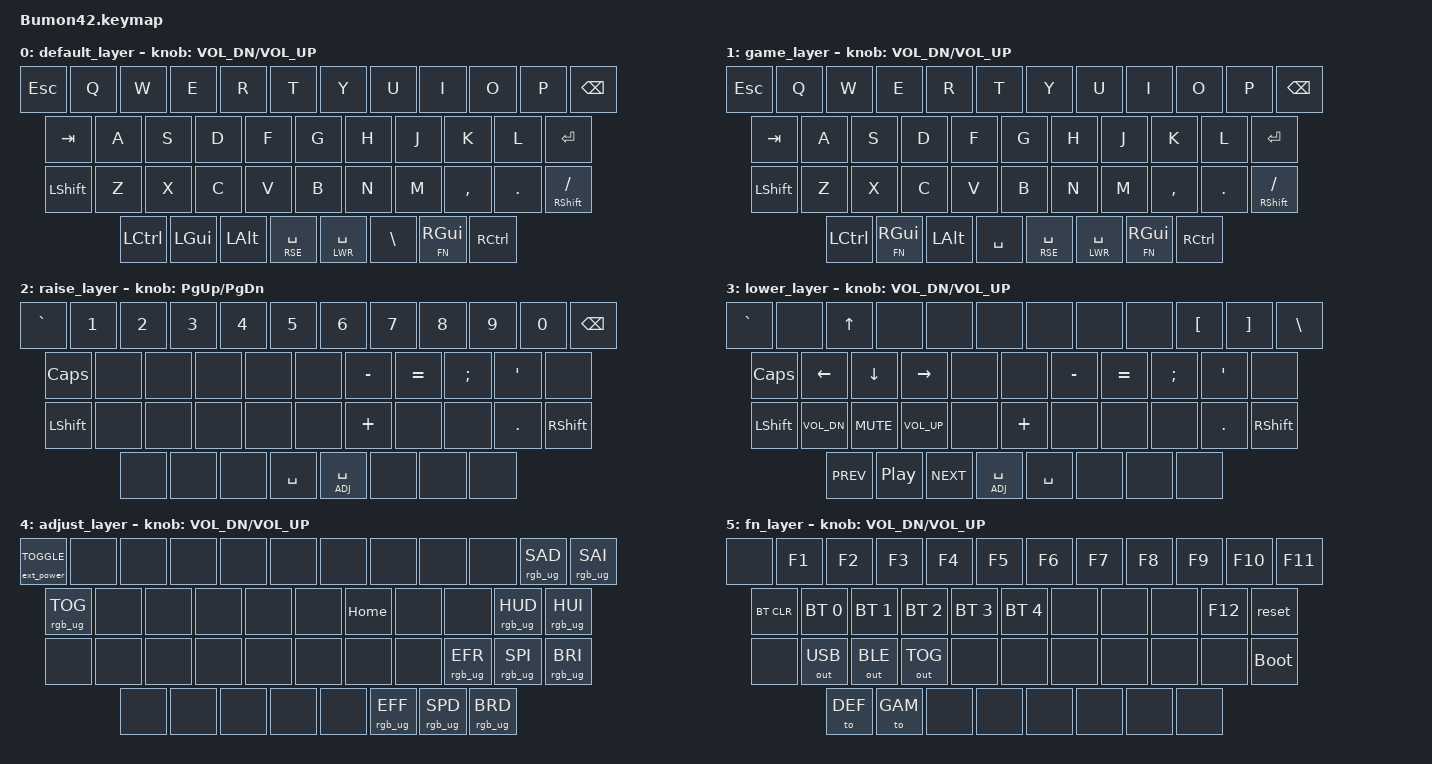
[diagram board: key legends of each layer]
#include <behaviors.dtsi>
#include <dt-bindings/zmk/keys.h>
#include <dt-bindings/zmk/bt.h>
#include <dt-bindings/zmk/outputs.h>
#include <dt-bindings/zmk/rgb.h>
#include <dt-bindings/zmk/ext_power.h>
// changed lwr and rse
#define DEF 0
#define GAM 1
#define RSE 2
#define LWR 3
#define ADJ 4
#define FN  5

/ {
    keymap {
        compatible = "zmk,keymap";

        default_layer {
          bindings = <
            &kp ESC  &kp Q   &kp W  &kp E  &kp R  &kp T    &kp Y  &kp U  &kp I  &kp O   &kp P  &kp BSPC
            &kp TAB    &kp A  &kp S  &kp D  &kp F  &kp G  &kp H  &kp J  &kp K  &kp L         &kp ENTER
            &kp LSHFT   &kp Z  &kp X  &kp C  &kp V  &kp B  &kp N  &kp M  &kp COMMA &kp DOT   &mt RSHIFT SLASH
            &kp LCTRL &kp LGUI &kp LALT &lt RSE SPACE &lt LWR SPACE &kp BSLH   &lt FN RGUI  &kp RCTRL
			       >;
          sensor-bindings = <&inc_dec_kp C_VOL_DN C_VOL_UP>;

        };

        game_layer {
          bindings = <
            &kp ESC  &kp Q  &kp W  &kp E  &kp R  &kp T    &kp Y  &kp U  &kp I  &kp O   &kp P  &kp BSPC
            &kp TAB    &kp A  &kp S  &kp D  &kp F  &kp G  &kp H  &kp J  &kp K  &kp L         &kp ENTER
            &kp LSHFT   &kp Z  &kp X  &kp C  &kp V  &kp B  &kp N  &kp M  &kp COMMA &kp DOT   &mt RSHIFT SLASH
            &kp LCTRL &lt FN RGUI &kp LALT  &kp SPACE &lt RSE SPACE &lt LWR SPACE  &lt FN RGUI &kp RCTRL
             >;
          sensor-bindings = <&inc_dec_kp C_VOL_DN C_VOL_UP>;
        };
        raise_layer {
          bindings = <
            &kp GRAVE  &kp N1  &kp N2  &kp N3  &kp N4  &kp N5    &kp N6  &kp N7  &kp N8  &kp N9 &kp N0  &kp BSPC
            &kp CAPS    &none  &none  &none  &none  &none  &kp MINUS  &kp EQUAL  &kp SEMI  &kp SQT          &none
            &kp LSHFT          &none  &none  &none  &none &none  &kp PLUS  &none  &none  &kp DOT          &kp RSHFT
            &none   &none   &none         &kp SPACE           &lt ADJ SPACE                 &none  &none  &none
			       >;
          sensor-bindings = <&inc_dec_kp PG_UP PG_DN>;

        };
        lower_layer {
          bindings = <
            &kp GRAVE &none  &kp UP   &none  &none  &none    &none  &none    &none    &kp LBKT  &kp RBKT     &kp BSLH
            &kp CAPS   &kp LEFT    &kp DOWN  &kp RIGHT   &none   &none   &kp MINUS  &kp EQUAL  &kp SEMI  &kp SQT &none
            &kp LSHFT   &kp C_VOL_DN   &kp C_MUTE    &kp C_VOL_UP  &none   &kp PLUS    &none  &none  &none  &kp DOT     &kp RSHFT
            &kp C_PREV   &kp C_PLAY_PAUSE   &kp C_NEXT      &lt ADJ SPACE          &kp SPACE                   &none  &none  &none
			       >;
          sensor-bindings = <&inc_dec_kp C_VOL_DN C_VOL_UP>;

        };
        adjust_layer {
          bindings = <
            &ext_power EXT_POWER_TOGGLE_CMD  &none  &none  &none  &none  &none   &none  &none  &none  &none &rgb_ug RGB_SAD &rgb_ug RGB_SAI
            &rgb_ug RGB_TOG  &none  &none  &none  &none  &none   &kp HOME  &none  &none  &rgb_ug RGB_HUD  &rgb_ug RGB_HUI
            &none  &none  &none  &none  &none  &none   &none  &none  &rgb_ug RGB_EFR  &rgb_ug RGB_SPI  &rgb_ug RGB_BRI
            &none  &none  &none  &none  &none  &rgb_ug RGB_EFF   &rgb_ug RGB_SPD  &rgb_ug RGB_BRD
			       >;
          sensor-bindings = <&inc_dec_kp C_VOL_DN C_VOL_UP>;

        };

        fn_layer {
          bindings = <
            &none  &kp F1  &kp F2  &kp F3  &kp F4  &kp F5  &kp F6   &kp F7  &kp F8  &kp F9  &kp F10  &kp F11 
            &bt BT_CLR  &bt BT_SEL 0 &bt BT_SEL 1 &bt BT_SEL 2 &bt BT_SEL 3 &bt BT_SEL 4   &none  &none  &none  &kp F12  &reset
            &none &out OUT_USB  &out OUT_BLE  &out OUT_TOG  &none  &none  &none   &none  &none  &none  &bootloader
            &to DEF  &to GAM  &none  &none  &none  &none   &none  &none
			       >;
          sensor-bindings = <&inc_dec_kp C_VOL_DN C_VOL_UP>;
        };
    };
};
